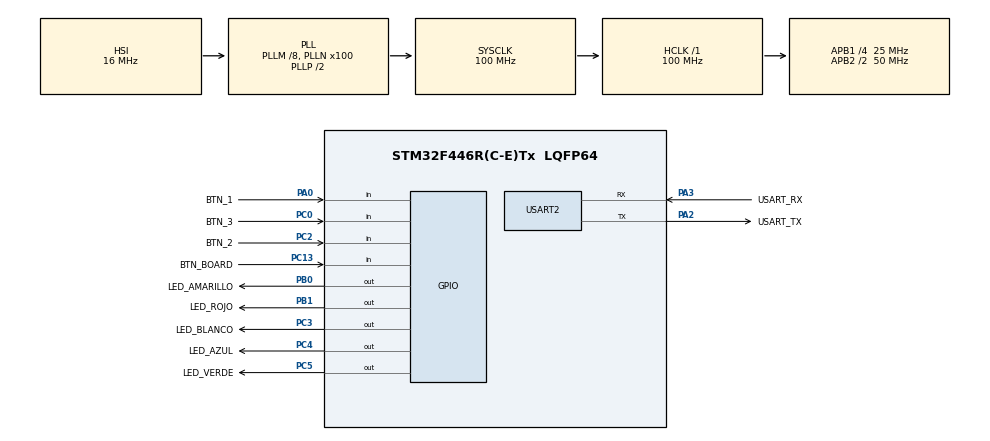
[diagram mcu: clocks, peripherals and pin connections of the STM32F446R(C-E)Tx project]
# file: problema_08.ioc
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FREERTOS.Tasks01=defaultTask,24,128,StartDefaultTask,Default,NULL,Dynamic,NULL,NULL
FREERTOS.configUSE_NEWLIB_REENTRANT=1
Mcu.Family=STM32F4
Mcu.Name=STM32F446R(C-E)Tx
Mcu.Package=LQFP64
NVIC.PriorityGroup=NVIC_PRIORITYGROUP_4
NVIC.TIM1_UP_TIM10_IRQn=true\:15\:0\:false\:false\:true\:false\:false\:true\:true
NVIC.TimeBase=TIM1_UP_TIM10_IRQn
NVIC.TimeBaseIP=TIM1
PA0-WKUP.GPIO_Label=BTN_1
PA0-WKUP.Signal=GPIO_Input
PA13.GPIO_Label=TMS
PA13.Mode=Serial_Wire
PA13.Signal=SYS_JTMS-SWDIO
PA14.GPIO_Label=TCK
PA14.Mode=Serial_Wire
PA14.Signal=SYS_JTCK-SWCLK
PA2.GPIO_Label=USART_TX
PA2.Mode=Asynchronous
PA2.Signal=USART2_TX
PA3.GPIO_Label=USART_RX
PA3.Mode=Asynchronous
PA3.Signal=USART2_RX
PB0.GPIO_Label=LED_AMARILLO
PB0.Signal=GPIO_Output
PB1.GPIO_Label=LED_ROJO
PB1.Signal=GPIO_Output
PC0.GPIO_Label=BTN_3
PC0.Signal=GPIO_Input
PC13.GPIO_Label=BTN_BOARD
PC13.GPIO_PuPd=GPIO_PULLDOWN
PC13.Signal=GPIO_Input
PC14-OSC32_IN.Mode=LSE-External-Oscillator
PC14-OSC32_IN.Signal=RCC_OSC32_IN
PC15-OSC32_OUT.Mode=LSE-External-Oscillator
PC15-OSC32_OUT.Signal=RCC_OSC32_OUT
PC2.GPIO_Label=BTN_2
PC2.GPIO_PuPd=GPIO_NOPULL
PC2.Signal=GPIO_Input
PC3.GPIO_Label=LED_BLANCO
PC3.Signal=GPIO_Output
PC4.GPIO_Label=LED_AZUL
PC4.Signal=GPIO_Output
PC5.GPIO_Label=LED_VERDE
PC5.Signal=GPIO_Output
PH0-OSC_IN.Mode=HSE-External-Oscillator
PH0-OSC_IN.Signal=RCC_OSC_IN
PH1-OSC_OUT.Mode=HSE-External-Oscillator
PH1-OSC_OUT.Signal=RCC_OSC_OUT
ProjectManager.HeapSize=0x200
ProjectManager.StackSize=0x400
ProjectManager.TargetToolchain=STM32CubeIDE
RCC.48MHZClocksFreq_Value=84000000
RCC.AHBFreq_Value=100000000
RCC.APB1CLKDivider=RCC_HCLK_DIV4
RCC.APB1Freq_Value=25000000
RCC.APB1TimFreq_Value=50000000
RCC.APB2CLKDivider=RCC_HCLK_DIV2
RCC.APB2Freq_Value=50000000
RCC.APB2TimFreq_Value=100000000
RCC.CortexFreq_Value=100000000
RCC.FLatency-AdvancedSettings=FLASH_LATENCY_3
RCC.HCLKFreq_Value=100000000
RCC.HSE_VALUE=8000000
RCC.HSI_VALUE=16000000
RCC.PLLM=8
RCC.PLLN=100
RCC.SYSCLKFreq_VALUE=100000000
RCC.SYSCLKSource=RCC_SYSCLKSOURCE_PLLCLK
RCC.USBFreq_Value=100000000
RCC.VCOOutputFreq_Value=200000000
USART2.VirtualMode=VM_ASYNC
VP_FREERTOS_VS_CMSIS_V2.Mode=CMSIS_V2
VP_SYS_VS_tim1.Mode=TIM1
board=NUCLEO-F446RE

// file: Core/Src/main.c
/* USER CODE BEGIN Header */
/**
 ******************************************************************************
 * @file           : main.c
 * @brief          : Main program body
 ******************************************************************************
 * @attention
 *
 * Copyright (c) 2026 STMicroelectronics.
 * All rights reserved.
 *
 * This software is licensed under terms that can be found in the LICENSE file
 * in the root directory of this software component.
 * If no LICENSE file comes with this software, it is provided AS-IS.
 *
 ******************************************************************************
 */
/* USER CODE END Header */
#include "main.h"
#include "cmsis_os.h"

/* USER CODE BEGIN Includes */
#include "interfaz_tp.h"
#include "debounce.h"
#include "task.h"
#include "semphr.h"
#include <string.h>
/* USER CODE END Includes */

/* USER CODE BEGIN PTD */
typedef struct {
	SemaphoreHandle_t sem;
	UART_HandleTypeDef huart;
	char msg[8];
} datos_t;
/* USER CODE END PTD */

UART_HandleTypeDef huart2;

/* Definitions for defaultTask */
osThreadId_t defaultTaskHandle;
const osThreadAttr_t defaultTask_attributes = { .name = "defaultTask",
		.stack_size = 128 * 4, .priority = (osPriority_t) osPriorityNormal, };
/* USER CODE BEGIN PV */
TaskHandle_t tarea;
/* USER CODE END PV */

void SystemClock_Config(void);
static void MX_GPIO_Init(void);
static void MX_USART2_UART_Init(void);
void StartDefaultTask(void *argument);

/* USER CODE BEGIN 0 */
void tarea_mensaje(void *p) {
	/*
	 char *s = ((datos_t*) p)->msg;
	 UART_HandleTypeDef uart = ((datos_t*) p)->huart;
	 SemaphoreHandle_t sem = ((datos_t*) p)->sem;

	 while (1) {
		 ulTaskNotifyTake(pdTRUE, portMAX_DELAY);
		 xSemaphoreTake(sem, portMAX_DELAY);
		 HAL_UART_Transmit(&uart, (uint8_t*) s, (uint16_t) strlen(s), 100);
		 xSemaphoreGive(sem);
	 }
	 */
	uint32_t val;
	char s[8];
	strcpy(s, "BB\r\n");
	while (1) {
		xTaskNotifyWait(0, UINT32_MAX, &val, portMAX_DELAY);
		s[1] = (char) (val & 0x07) + 0x30;
		HAL_UART_Transmit(&huart2, (uint8_t*) s, (uint16_t) strlen(s), 100);
	}
}

void tarea_botones(void *p) {
	debounce_t botones[2];
	uint16_t pines[2];
	for (int i = 0; i < 2; i++) {
		debounce_inic(&botones[i]);
	}
	while (1) {
		pines[0] = pulsador_activo(0);
		pines[1] = pulsador_activo(1);
		for (int i = 0; i < 2; i++) {
			debounce_fsm(&botones[i], pines[i]);
			if (botones[i].activo && !botones[i].anterior) {
				// xTaskNotifyGive(tareas[i]);
				xTaskNotify(tarea, i + 1, eSetValueWithOverwrite);
			}
			debounce_tick(&botones[i]);
		}
		vTaskDelay(pdMS_TO_TICKS(1));
	}
}

/* USER CODE END 0 */

int main(void) {

	/* MCU Configuration--------------------------------------------------------*/

	/* Reset of all peripherals, Initializes the Flash interface and the Systick. */
	HAL_Init();

	/* Configure the system clock */
	SystemClock_Config();

	/* Initialize all configured peripherals */
	MX_GPIO_Init();
	MX_USART2_UART_Init();

	/* Init scheduler */
	osKernelInitialize();

	/* Create the thread(s) */
	/* creation of defaultTask */
	defaultTaskHandle = osThreadNew(StartDefaultTask, NULL, &defaultTask_attributes);

	/* USER CODE BEGIN RTOS_THREADS */
	/* add threads, ... */
	/*
	parametros[0].huart = huart2;
	parametros[0].sem = mutex;
	parametros[1].huart = huart2;
	parametros[1].sem = mutex;
	strcpy(parametros[0].msg, "B1\r\n");
	strcpy(parametros[1].msg, "B2\r\n");
	for (int i = 0; i < 2; i++) {
		xTaskCreate(tarea_mensaje, "serie",
		configMINIMAL_STACK_SIZE * 2,
		NULL,
		tskIDLE_PRIORITY + 1,
		&tarea);
	}
	*/

	xTaskCreate(tarea_mensaje, "serie",
	configMINIMAL_STACK_SIZE * 2,
	NULL,
	tskIDLE_PRIORITY + 1,
	&tarea);

	xTaskCreate(tarea_botones, "btn",
	configMINIMAL_STACK_SIZE * 2,
	NULL,
	tskIDLE_PRIORITY + 2,
	NULL);

	/* USER CODE END RTOS_THREADS */

	/* Start scheduler */
	osKernelStart();

	/* We should never get here as control is now taken by the scheduler */

	/* Infinite loop */
	while (1) {

	}
}

void SystemClock_Config(void) {
	RCC_OscInitTypeDef RCC_OscInitStruct = { 0 };
	RCC_ClkInitTypeDef RCC_ClkInitStruct = { 0 };

	/** Configure the main internal regulator output voltage
	 */
	__HAL_RCC_PWR_CLK_ENABLE();
	__HAL_PWR_VOLTAGESCALING_CONFIG(PWR_REGULATOR_VOLTAGE_SCALE3);

	/** Initializes the RCC Oscillators according to the specified parameters
	 * in the RCC_OscInitTypeDef structure.
	 */
	RCC_OscInitStruct.OscillatorType = RCC_OSCILLATORTYPE_HSI;
	RCC_OscInitStruct.HSIState = RCC_HSI_ON;
	RCC_OscInitStruct.HSICalibrationValue = RCC_HSICALIBRATION_DEFAULT;
	RCC_OscInitStruct.PLL.PLLState = RCC_PLL_ON;
	RCC_OscInitStruct.PLL.PLLSource = RCC_PLLSOURCE_HSI;
	RCC_OscInitStruct.PLL.PLLM = 8;
	RCC_OscInitStruct.PLL.PLLN = 100;
	RCC_OscInitStruct.PLL.PLLP = RCC_PLLP_DIV2;
	RCC_OscInitStruct.PLL.PLLQ = 2;
	RCC_OscInitStruct.PLL.PLLR = 2;
	if (HAL_RCC_OscConfig(&RCC_OscInitStruct) != HAL_OK) {
		Error_Handler();
	}

	/** Initializes the CPU, AHB and APB buses clocks
	 */
	RCC_ClkInitStruct.ClockType = RCC_CLOCKTYPE_HCLK | RCC_CLOCKTYPE_SYSCLK
			| RCC_CLOCKTYPE_PCLK1 | RCC_CLOCKTYPE_PCLK2;
	RCC_ClkInitStruct.SYSCLKSource = RCC_SYSCLKSOURCE_PLLCLK;
	RCC_ClkInitStruct.AHBCLKDivider = RCC_SYSCLK_DIV1;
	RCC_ClkInitStruct.APB1CLKDivider = RCC_HCLK_DIV4;
	RCC_ClkInitStruct.APB2CLKDivider = RCC_HCLK_DIV2;

	if (HAL_RCC_ClockConfig(&RCC_ClkInitStruct, FLASH_LATENCY_3) != HAL_OK) {
		Error_Handler();
	}
}

static void MX_USART2_UART_Init(void) {

	huart2.Instance = USART2;
	huart2.Init.BaudRate = 115200;
	huart2.Init.WordLength = UART_WORDLENGTH_8B;
	huart2.Init.StopBits = UART_STOPBITS_1;
	huart2.Init.Parity = UART_PARITY_NONE;
	huart2.Init.Mode = UART_MODE_TX_RX;
	huart2.Init.HwFlowCtl = UART_HWCONTROL_NONE;
	huart2.Init.OverSampling = UART_OVERSAMPLING_16;
	if (HAL_UART_Init(&huart2) != HAL_OK) {
		Error_Handler();
	}

}

static void MX_GPIO_Init(void) {
	GPIO_InitTypeDef GPIO_InitStruct = { 0 };

	/* GPIO Ports Clock Enable */
	__HAL_RCC_GPIOC_CLK_ENABLE();
	__HAL_RCC_GPIOH_CLK_ENABLE();
	__HAL_RCC_GPIOA_CLK_ENABLE();
	__HAL_RCC_GPIOB_CLK_ENABLE();

	/*Configure GPIO pin Output Level */
	HAL_GPIO_WritePin(GPIOC, LED_BLANCO_Pin | LED_AZUL_Pin | LED_VERDE_Pin,
			GPIO_PIN_RESET);

	/*Configure GPIO pin Output Level */
	HAL_GPIO_WritePin(GPIOB, LED_AMARILLO_Pin | LED_ROJO_Pin, GPIO_PIN_RESET);

	/*Configure GPIO pin : BTN_BOARD_Pin */
	GPIO_InitStruct.Pin = BTN_BOARD_Pin;
	GPIO_InitStruct.Mode = GPIO_MODE_INPUT;
	GPIO_InitStruct.Pull = GPIO_PULLDOWN;
	HAL_GPIO_Init(BTN_BOARD_GPIO_Port, &GPIO_InitStruct);

	/*Configure GPIO pins : BTN_3_Pin BTN_2_Pin */
	GPIO_InitStruct.Pin = BTN_3_Pin | BTN_2_Pin;
	GPIO_InitStruct.Mode = GPIO_MODE_INPUT;
	GPIO_InitStruct.Pull = GPIO_NOPULL;
	HAL_GPIO_Init(GPIOC, &GPIO_InitStruct);

	/*Configure GPIO pins : LED_BLANCO_Pin LED_AZUL_Pin LED_VERDE_Pin */
	GPIO_InitStruct.Pin = LED_BLANCO_Pin | LED_AZUL_Pin | LED_VERDE_Pin;
	GPIO_InitStruct.Mode = GPIO_MODE_OUTPUT_PP;
	GPIO_InitStruct.Pull = GPIO_NOPULL;
	GPIO_InitStruct.Speed = GPIO_SPEED_FREQ_LOW;
	HAL_GPIO_Init(GPIOC, &GPIO_InitStruct);

	/*Configure GPIO pin : BTN_1_Pin */
	GPIO_InitStruct.Pin = BTN_1_Pin;
	GPIO_InitStruct.Mode = GPIO_MODE_INPUT;
	GPIO_InitStruct.Pull = GPIO_NOPULL;
	HAL_GPIO_Init(BTN_1_GPIO_Port, &GPIO_InitStruct);

	/*Configure GPIO pins : LED_AMARILLO_Pin LED_ROJO_Pin */
	GPIO_InitStruct.Pin = LED_AMARILLO_Pin | LED_ROJO_Pin;
	GPIO_InitStruct.Mode = GPIO_MODE_OUTPUT_PP;
	GPIO_InitStruct.Pull = GPIO_NOPULL;
	GPIO_InitStruct.Speed = GPIO_SPEED_FREQ_LOW;
	HAL_GPIO_Init(GPIOB, &GPIO_InitStruct);

}

void StartDefaultTask(void *argument) {
	/* USER CODE BEGIN 5 */
	/* Infinite loop */
	for (;;) {
		osDelay(250);
	}
	/* USER CODE END 5 */
}

void HAL_TIM_PeriodElapsedCallback(TIM_HandleTypeDef *htim) {
	if (htim->Instance == TIM1) {
		HAL_IncTick();
	}
}

void Error_Handler(void) {
	__disable_irq();
	while (1) {
	}
}
